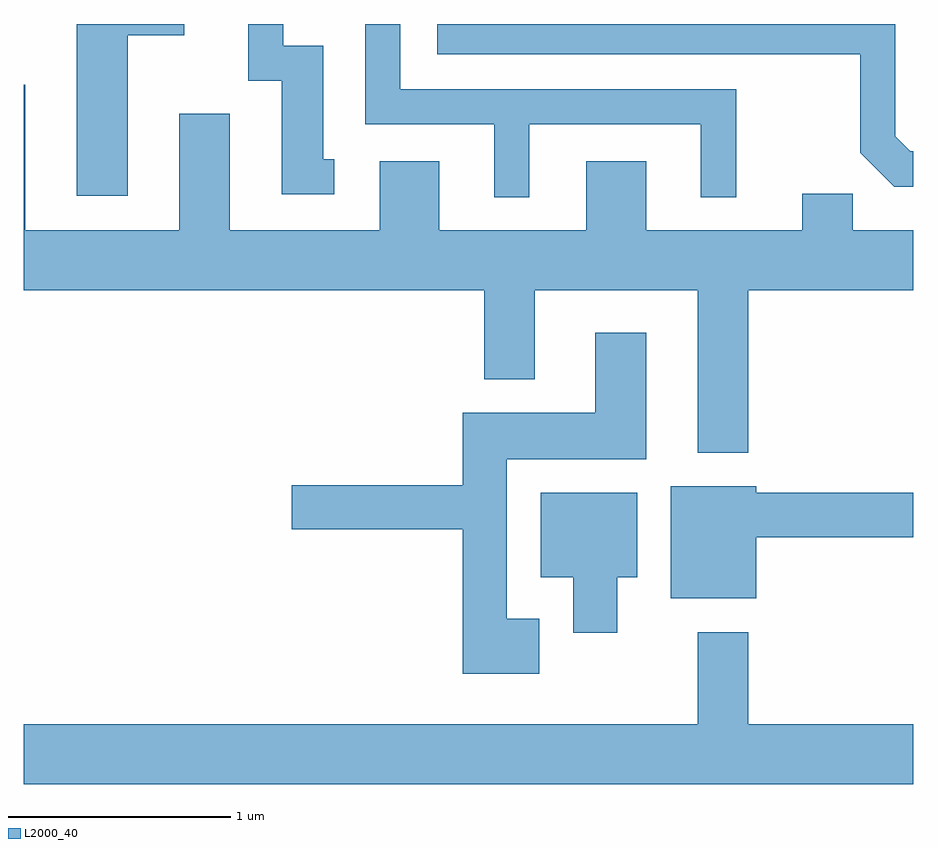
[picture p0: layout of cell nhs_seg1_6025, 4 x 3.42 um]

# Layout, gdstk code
import gdstk
lib = gdstk.Library(unit=1e-6, precision=1e-09)
def P(c, l, *ps):  # polygons
    for p in ps: c.add(gdstk.Polygon(p, *l))
L2000_40 = (2000, 40)

nhs_seg1_6025 = lib.new_cell('nhs_seg1_6025')
P(nhs_seg1_6025, L2000_40, [(369.884,849.261),(370.656,849.261),(370.656,848.933),(370.814,848.933),(370.814,849.419),(369.304,849.419),(369.304,849.712),(369.146,849.712),(369.146,849.261),(369.726,849.261),(369.726,848.933),(369.884,848.933)],
  [(371.611,849.139),(371.597,849.139),(371.529,849.207),(371.529,849.712),(369.471,849.712),(369.471,849.576),(371.371,849.576),(371.371,849.134),(371.524,848.981),(371.611,848.981)],
  [(368.079,849.661),(368.334,849.661),(368.334,849.712),(367.851,849.712),(367.851,848.941),(368.079,848.941)],
  [(369.008,849.104),(368.959,849.104),(368.959,849.614),(368.779,849.614),(368.779,849.712),(368.621,849.712),(368.621,849.456),(368.771,849.456),(368.771,848.946),(369.008,848.946)],
  [(370.869,848.516),(371.611,848.516),(371.611,848.784),(371.339,848.784),(371.339,848.949),(371.111,848.949),(371.111,848.784),(370.409,848.784),(370.409,849.094),(370.141,849.094),(370.141,848.784),(369.479,848.784),(369.479,849.094),(369.211,849.094),(369.211,848.784),(368.539,848.784),(368.539,849.309),(368.311,849.309),(368.311,848.784),(367.619,848.784),(367.619,849.439),(367.611,849.439),(367.611,848.516),(369.681,848.516),(369.681,848.116),(369.909,848.116),(369.909,848.516),(370.641,848.516),(370.641,847.786),(370.869,847.786)],
  [(369.929,847.039),(369.784,847.039),(369.784,847.756),(370.409,847.756),(370.409,848.324),(370.181,848.324),(370.181,847.964),(369.586,847.964),(369.586,847.639),(368.816,847.639),(368.816,847.441),(369.586,847.441),(369.586,846.791),(369.929,846.791)],
  [(370.904,847.406),(371.611,847.406),(371.611,847.604),(370.904,847.604),(370.904,847.634),(370.521,847.634),(370.521,847.131),(370.904,847.131)],
  [(370.279,847.226),(370.369,847.226),(370.369,847.604),(369.936,847.604),(369.936,847.226),(370.081,847.226),(370.081,846.976),(370.279,846.976)],
  [(371.611,846.564),(370.869,846.564),(370.869,846.979),(370.641,846.979),(370.641,846.564),(367.611,846.564),(367.611,846.296),(371.611,846.296)])

lib.write_gds('nhs_seg1_6025.gds')
